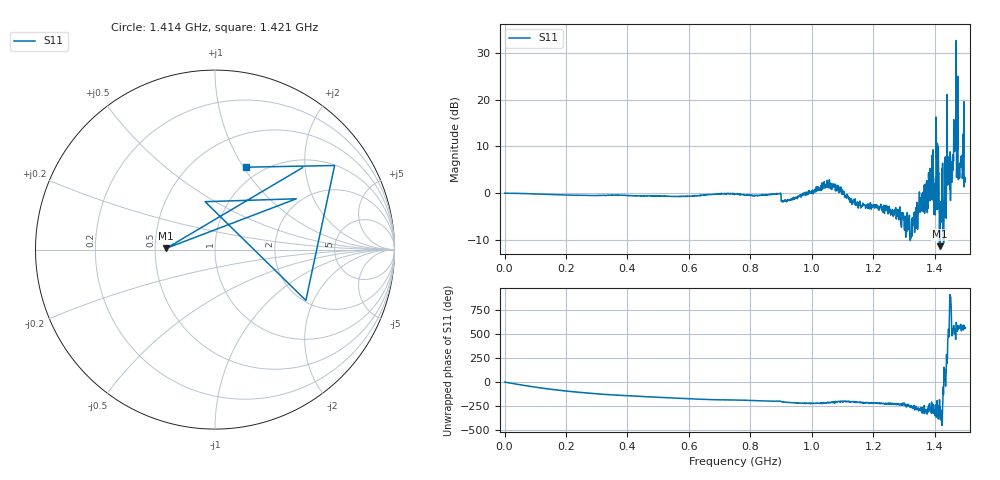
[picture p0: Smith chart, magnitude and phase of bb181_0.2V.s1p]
# Hz S RI R 50
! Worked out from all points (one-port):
!   1515 points, 50 kHz to 1.5 GHz, reference 50 ohm
!   lowest |S11| = -11.3 dB at 1.416 GHz (marker M1), VSWR 1.75, Z = 28.6 + j0.431 ohm
!   |S11| at or under -10 dB: 1.32051 GHz to 1.320834 GHz (324.3 kHz wide, 0.0246 % of centre); 1.415621 GHz to 1.416009 GHz (388.4 kHz wide, 0.0274 % of centre); 1.428447 GHz to 1.429698 GHz (1.251 MHz wide, 0.0875 % of centre) (the widest 3 of 4)
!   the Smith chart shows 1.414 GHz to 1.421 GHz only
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50000  0.9991 0.000289
1.882866e8  0.0267 -0.9577
3.755325e8  -0.699 -0.6522
5.627784e8  -0.8948 -0.2191
7.500243e8  -0.9722 0.0937
9.382609e8  -0.7113 0.4784
1.125507e9  -0.7385 0.3591
1.312753e9  -0.2668 0.3074
1.401917e9  -0.3362 0.4803
1.415787e9  -0.2717 0.00697
1.417769e9  -0.0551 0.2669
1.431639e9  0.5385 0.1608
1.434611e9  1.456 1.272
1.442537e9  0.5455 1.095
1.4465e9  -0.4144 1.394
1.449472e9  -1.094 -0.0886
1.462351e9  -4.314 -4.306
1.463342e9  -2.654 2.433
1.467305e9  -2.875 -0.3756
1.468296e9  0.4395 2.846
1.470277e9  -9.689 -41.61
1.476221e9  -1.7 -0.053
1.477212e9  -1.395 -0.0425
1.478203e9  -1.511 -1.293
1.482166e9  -1.98 -0.6898
1.483156e9  -1.703 -1.009
1.48811e9  -1.939 -0.4801
1.499999e9  -1.255 -0.4219
